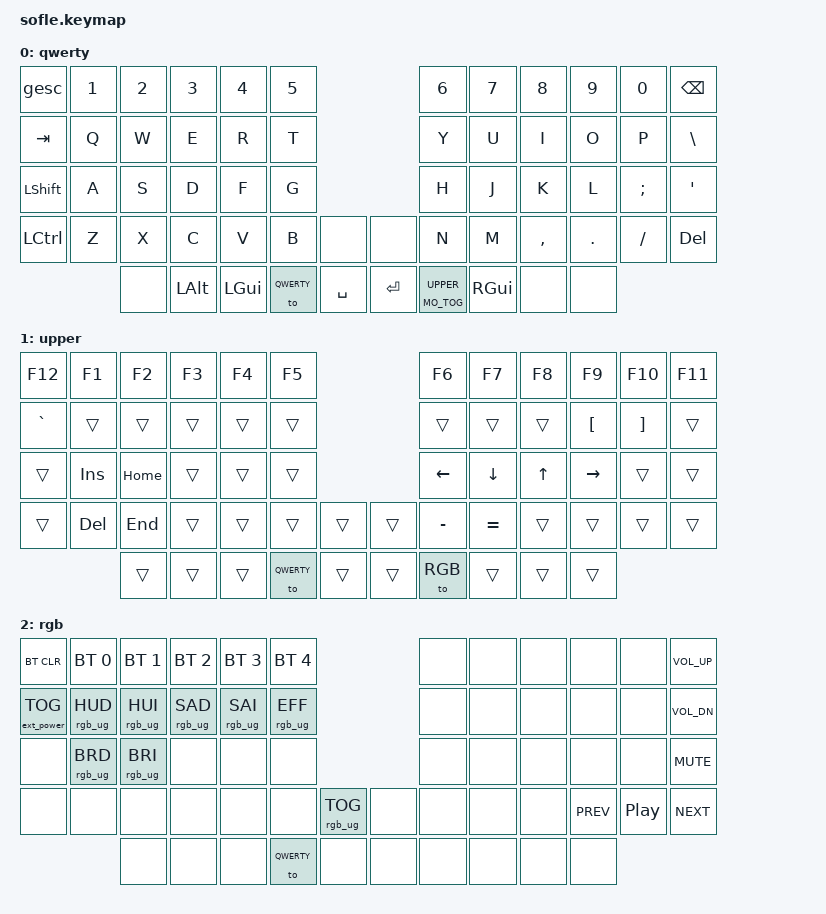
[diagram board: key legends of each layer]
// clang-format off
/*
 * Copyright (c) 2020 The ZMK Contributors
 *
 * SPDX-License-Identifier: MIT
 */

#include <behaviors.dtsi>
#include <dt-bindings/zmk/keys.h>
#include <dt-bindings/zmk/bt.h>
#include <dt-bindings/zmk/rgb.h>
#include <dt-bindings/zmk/ext_power.h>

#define QWERTY 0
#define UPPER 1
#define RGB 2

#define MO_TOG(layer) &mo_tog layer layer   // Macro to apply momentary-layer-on-hold/toggle-layer-on-tap to a specific layer

/ {


    behaviors {
        gesc: grave_escape {
            compatible = "zmk,behavior-mod-morph";
            #binding-cells = <0>;
            bindings = <&kp ESC>, <&kp GRAVE>;
            mods = <(MOD_LSFT|MOD_RSFT)>;
        };

        mo_tog: behavior_mo_tog {
            compatible = "zmk,behavior-hold-tap";
            #binding-cells = <2>;
            tapping-term-ms = <200>;
            flavor = "hold-preferred";
            bindings = <&mo>, <&tog>;
        };
    };

    keymap {
        compatible = "zmk,keymap";

        qwerty {
            display-name = "qwerty";
            bindings = <
//    ┌───────┬───┬─────┬──────┬──────┬───────────┐               ┌───────────────┬──────┬─────┬─────┬───┬──────┐
//    │ &gesc │ 1 │  2  │  3   │  4   │     5     │               │       6       │  7   │  8  │  9  │ 0 │ bspc │
//    ├───────┼───┼─────┼──────┼──────┼───────────┤               ├───────────────┼──────┼─────┼─────┼───┼──────┤
//    │  tab  │ Q │  W  │  E   │  R   │     T     │               │       Y       │  U   │  I  │  O  │ P │  \   │
//    ├───────┼───┼─────┼──────┼──────┼───────────┤               ├───────────────┼──────┼─────┼─────┼───┼──────┤
//    │ lsft  │ A │  S  │  D   │  F   │     G     │               │       H       │  J   │  K  │  L  │ ; │  '   │
//    ├───────┼───┼─────┼──────┼──────┼───────────┼─────┐   ┌─────┼───────────────┼──────┼─────┼─────┼───┼──────┤
//    │ lctl  │ Z │  X  │  C   │  V   │     B     │     │   │     │       N       │  M   │  ,  │  .  │ / │ del  │
//    └───────┴───┼─────┼──────┼──────┼───────────┼─────┤   ├─────┼───────────────┼──────┼─────┼─────┼───┴──────┘
//                │     │ lalt │ lgui │ to QWERTY │ spc │   │ ent │ &MO_TOG upPER │ rgui │     │     │
//                └─────┴──────┴──────┴───────────┴─────┘   └─────┴───────────────┴──────┴─────┴─────┘
  &gesc       &kp N1   &kp N2   &kp N3     &kp N4     &kp N5                                 &kp N6          &kp N7     &kp N8      &kp N9    &kp N0     &kp BSPC
  &kp TAB     &kp Q    &kp W    &kp E      &kp R      &kp T                                  &kp Y           &kp U      &kp I       &kp O     &kp P      &kp BACKSLASH
  &kp LSHFT   &kp A    &kp S    &kp D      &kp F      &kp G                                  &kp H           &kp J      &kp K       &kp L     &kp SEMI   &kp SQT
  &kp LCTRL   &kp Z    &kp X    &kp C      &kp V      &kp B        &none           &none     &kp N           &kp M      &kp COMMA   &kp DOT   &kp FSLH   &kp DELETE
                       &none    &kp LALT   &kp LGUI   &to QWERTY   &kp SPACE       &kp RET   &MO_TOG UPPER   &kp RGUI   &none       &none
            >;

            // sensor-bindings = <&inc_dec_kp C_VOL_UP C_VOL_DN &inc_dec_kp PG_UP PG_DN>;
        };

        upper {
            display-name = "upper";
            bindings = <
//    ┌─────┬─────┬──────┬─────┬─────┬───────────┐               ┌──────────┬──────┬─────┬──────┬─────┬─────┐
//    │ f12 │ f1  │  f2  │ f3  │ f4  │    f5     │               │    f6    │  f7  │ f8  │  f9  │ f10 │ f11 │
//    ├─────┼─────┼──────┼─────┼─────┼───────────┤               ├──────────┼──────┼─────┼──────┼─────┼─────┤
//    │  `  │     │      │     │     │           │               │          │      │     │  [   │  ]  │     │
//    ├─────┼─────┼──────┼─────┼─────┼───────────┤               ├──────────┼──────┼─────┼──────┼─────┼─────┤
//    │     │ ins │ home │     │     │           │               │   left   │ down │ up  │ rght │     │     │
//    ├─────┼─────┼──────┼─────┼─────┼───────────┼─────┐   ┌─────┼──────────┼──────┼─────┼──────┼─────┼─────┤
//    │     │ del │ end  │     │     │           │     │   │     │    -     │  =   │     │      │     │     │
//    └─────┴─────┼──────┼─────┼─────┼───────────┼─────┤   ├─────┼──────────┼──────┼─────┼──────┼─────┴─────┘
//                │      │     │     │ to QWERTY │     │   │     │ to rguiB │      │     │      │
//                └──────┴─────┴─────┴───────────┴─────┘   └─────┴──────────┴──────┴─────┴──────┘
  &kp F12     &kp F1       &kp F2     &kp F3   &kp F4   &kp F5                             &kp F6      &kp F7      &kp F8   &kp F9      &kp F10    &kp F11
  &kp GRAVE   &trans       &trans     &trans   &trans   &trans                             &trans      &trans      &trans   &kp LBKT    &kp RBKT   &trans
  &trans      &kp INSERT   &kp HOME   &trans   &trans   &trans                             &kp LEFT    &kp DOWN    &kp UP   &kp RIGHT   &trans     &trans
  &trans      &kp DEL      &kp END    &trans   &trans   &trans       &trans       &trans   &kp MINUS   &kp EQUAL   &trans   &trans      &trans     &trans
                           &trans     &trans   &trans   &to QWERTY   &trans       &trans   &to RGB     &trans      &trans   &trans
            >;

            // sensor-bindings = <&inc_dec_kp C_VOL_UP C_VOL_DN &inc_dec_kp PG_UP PG_DN>;
        };


        rgb {
// ----------------------------------------------------------------------------------------------------------------------------
// | BTCLR  |  BT1    |  BT2    |   BT3   |   BT4   |   BT5   |                  |      |      |       |      |       |       |
// | EXTPWR | RGB_HUD | RGB_HUI | RGB_SAD | RGB_SAI | RGB_EFF |                  |      |      |       |      |       |       |
// |        | RGB_BRD | RGB_BRI |         |         |         |                  |      |      |       |      |       |       |
// |        |         |         |         |         |         | RGB_TOG | |      |      |      |       |      |       |       |
//                    |         |         |         |         |         | |      |      |      |       |      |
            display-name = "rgb";
            bindings = <
//    ┌───────────┬──────────┬──────────┬──────────┬──────────┬───────────┐                   ┌─────┬─────┬─────┬──────┬──────┬──────┐
//    │  bt_clr   │ bt_sel 0 │ bt_sel 1 │ bt_sel 2 │ bt_sel 3 │ bt_sel 4  │                   │     │     │     │      │      │ volu │
//    ├───────────┼──────────┼──────────┼──────────┼──────────┼───────────┤                   ├─────┼─────┼─────┼──────┼──────┼──────┤
//    │ epwr_ tog │ ug_ hu-  │ ug_ hu+  │ ug_ sa-  │ ug_ sa+  │  ug_ eff  │                   │     │     │     │      │      │ vold │
//    ├───────────┼──────────┼──────────┼──────────┼──────────┼───────────┤                   ├─────┼─────┼─────┼──────┼──────┼──────┤
//    │           │ ug_ br-  │ ug_ br+  │          │          │           │                   │     │     │     │      │      │ mute │
//    ├───────────┼──────────┼──────────┼──────────┼──────────┼───────────┼─────────┐   ┌─────┼─────┼─────┼─────┼──────┼──────┼──────┤
//    │           │          │          │          │          │           │ ug_ tog │   │     │     │     │     │ prev │ play │ next │
//    └───────────┴──────────┼──────────┼──────────┼──────────┼───────────┼─────────┤   ├─────┼─────┼─────┼─────┼──────┼──────┴──────┘
//                           │          │          │          │ to QWERTY │         │   │     │     │     │     │      │
//                           └──────────┴──────────┴──────────┴───────────┴─────────┘   └─────┴─────┴─────┴─────┴──────┘
  &bt BT_CLR          &bt BT_SEL 0      &bt BT_SEL 1      &bt BT_SEL 2      &bt BT_SEL 3      &bt BT_SEL 4                                    &none   &none   &none   &none        &none      &kp C_VOL_UP
  &ext_power EP_TOG   &rgb_ug RGB_HUD   &rgb_ug RGB_HUI   &rgb_ug RGB_SAD   &rgb_ug RGB_SAI   &rgb_ug RGB_EFF                                 &none   &none   &none   &none        &none      &kp C_VOL_DN
  &none               &rgb_ug RGB_BRD   &rgb_ug RGB_BRI   &none             &none             &none                                           &none   &none   &none   &none        &none      &kp C_MUTE
  &none               &none             &none             &none             &none             &none             &rgb_ug RGB_TOG       &none   &none   &none   &none   &kp C_PREV   &kp C_PP   &kp C_NEXT
                                        &none             &none             &none             &to QWERTY        &none                 &none   &none   &none   &none   &none
            >;
        };

    };
};
